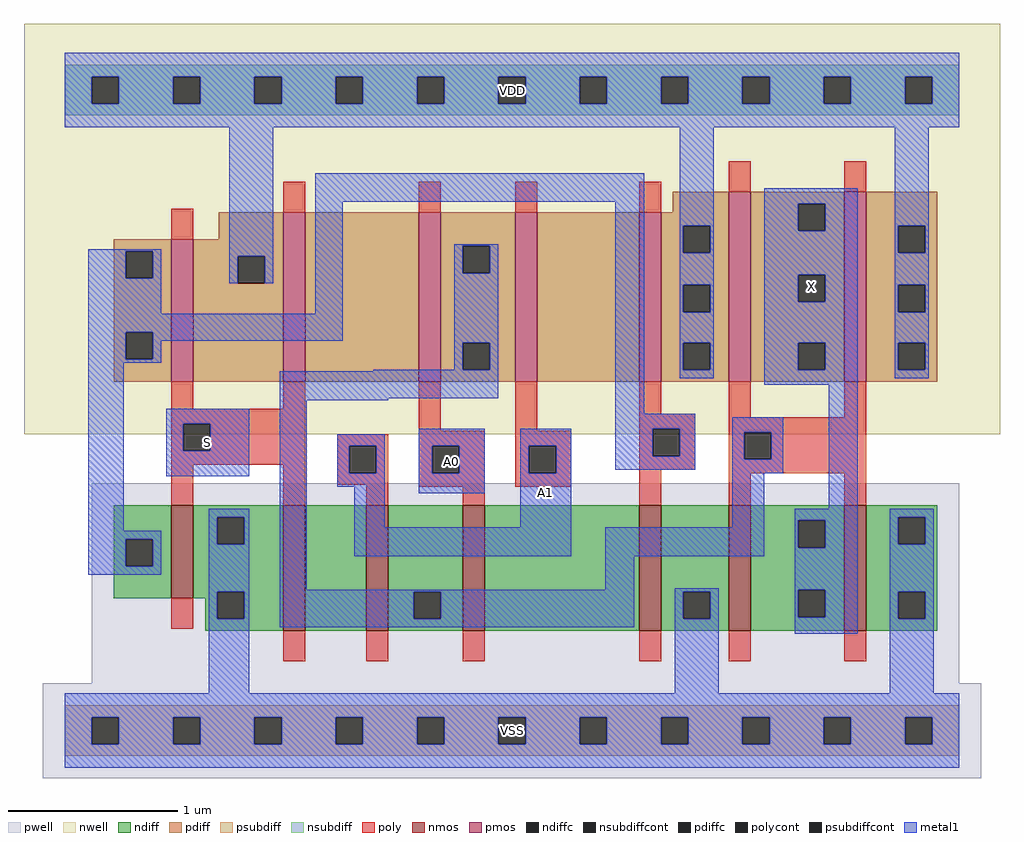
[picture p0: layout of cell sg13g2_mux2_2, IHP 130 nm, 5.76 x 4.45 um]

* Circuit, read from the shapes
.subckt sg13g2_mux2_2 A1 X S VDD VSS A0
XM1 VSS S n1 VSS sg13_lv_nmos w=0.55u l=0.13u
XM2 n2 S VSS VSS sg13_lv_nmos w=0.74u l=0.13u
XM3 n3 A1 n2 VSS sg13_lv_nmos w=0.74u l=0.13u
XM4 n4 A0 n3 VSS sg13_lv_nmos w=0.74u l=0.13u
XM5 VSS n1 n4 VSS sg13_lv_nmos w=0.74u l=0.13u
XM6 X n3 VSS VSS sg13_lv_nmos w=0.74u l=0.13u m=2
XM7 VDD S n1 VDD sg13_lv_pmos w=0.84u l=0.13u
XM8 n5 S VDD VDD sg13_lv_pmos w=1u l=0.13u
XM9 n3 A0 n5 VDD sg13_lv_pmos w=1u l=0.13u
XM10 n6 A1 n3 VDD sg13_lv_pmos w=1u l=0.13u
XM11 VDD n1 n6 VDD sg13_lv_pmos w=1u l=0.13u
XM12 X n3 VDD VDD sg13_lv_pmos w=1.12u l=0.13u m=2
.ends

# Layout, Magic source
magic
tech ihp-sg13g2
<< nwell >>
rect -24 175 552 417
<< pwell >>
rect 16 28 528 146
rect -13 -28 541 28
<< nmos >>
rect 63 78 76 133
rect 129 59 142 133
rect 178 59 191 133
rect 235 59 248 133
rect 339 59 352 133
rect 392 59 405 133
rect 460 59 473 133
<< pmos >>
rect 63 206 76 290
rect 129 206 142 306
rect 209 206 222 306
rect 266 206 279 306
rect 339 206 352 306
rect 392 206 405 318
rect 460 206 473 318
<< ndiff >>
rect 29 113 63 133
rect 29 97 36 113
rect 52 97 63 113
rect 29 78 63 97
rect 76 126 129 133
rect 76 110 90 126
rect 106 110 129 126
rect 76 82 129 110
rect 76 78 90 82
rect 83 66 90 78
rect 106 66 129 82
rect 83 59 129 66
rect 142 59 178 133
rect 191 82 235 133
rect 191 66 206 82
rect 222 66 235 82
rect 191 59 235 66
rect 248 59 339 133
rect 352 82 392 133
rect 352 66 365 82
rect 381 66 392 82
rect 352 59 392 66
rect 405 124 460 133
rect 405 108 433 124
rect 449 108 460 124
rect 405 83 460 108
rect 405 67 433 83
rect 449 67 460 83
rect 405 59 460 67
rect 473 126 515 133
rect 473 110 492 126
rect 508 110 515 126
rect 473 82 515 110
rect 473 66 492 82
rect 508 66 515 82
rect 473 59 515 66
<< pdiff >>
rect 359 306 392 318
rect 91 290 129 306
rect 29 283 63 290
rect 29 267 36 283
rect 52 267 63 283
rect 29 235 63 267
rect 29 219 36 235
rect 52 219 63 235
rect 29 206 63 219
rect 76 280 129 290
rect 76 264 102 280
rect 118 264 129 280
rect 76 206 129 264
rect 142 206 209 306
rect 222 286 266 306
rect 222 270 235 286
rect 251 270 266 286
rect 222 229 266 270
rect 222 213 235 229
rect 251 213 266 229
rect 222 206 266 213
rect 279 206 339 306
rect 352 298 392 306
rect 352 282 365 298
rect 381 282 392 298
rect 352 263 392 282
rect 352 247 365 263
rect 381 247 392 263
rect 352 229 392 247
rect 352 213 365 229
rect 381 213 392 229
rect 352 206 392 213
rect 405 311 460 318
rect 405 295 433 311
rect 449 295 460 311
rect 405 269 460 295
rect 405 253 433 269
rect 449 253 460 269
rect 405 229 460 253
rect 405 213 433 229
rect 449 213 460 229
rect 405 206 460 213
rect 473 298 515 318
rect 473 282 492 298
rect 508 282 515 298
rect 473 263 515 282
rect 473 247 492 263
rect 508 247 515 263
rect 473 229 515 247
rect 473 213 492 229
rect 508 213 515 229
rect 473 206 515 213
<< ndiffc >>
rect 36 97 52 113
rect 90 110 106 126
rect 90 66 106 82
rect 206 66 222 82
rect 365 66 381 82
rect 433 108 449 124
rect 433 67 449 83
rect 492 110 508 126
rect 492 66 508 82
<< pdiffc >>
rect 36 267 52 283
rect 36 219 52 235
rect 102 264 118 280
rect 235 270 251 286
rect 235 213 251 229
rect 365 282 381 298
rect 365 247 381 263
rect 365 213 381 229
rect 433 295 449 311
rect 433 253 449 269
rect 433 213 449 229
rect 492 282 508 298
rect 492 247 508 263
rect 492 213 508 229
<< psubdiff >>
rect 0 8 528 15
rect 0 -8 16 8
rect 32 -8 64 8
rect 80 -8 112 8
rect 128 -8 160 8
rect 176 -8 208 8
rect 224 -8 256 8
rect 272 -8 304 8
rect 320 -8 352 8
rect 368 -8 400 8
rect 416 -8 448 8
rect 464 -8 496 8
rect 512 -8 528 8
rect 0 -15 528 -8
<< nsubdiff >>
rect 0 386 528 393
rect 0 370 16 386
rect 32 370 64 386
rect 80 370 112 386
rect 128 370 160 386
rect 176 370 208 386
rect 224 370 256 386
rect 272 370 304 386
rect 320 370 352 386
rect 368 370 400 386
rect 416 370 448 386
rect 464 370 496 386
rect 512 370 528 386
rect 0 363 528 370
<< psubdiffcont >>
rect 16 -8 32 8
rect 64 -8 80 8
rect 112 -8 128 8
rect 160 -8 176 8
rect 208 -8 224 8
rect 256 -8 272 8
rect 304 -8 320 8
rect 352 -8 368 8
rect 400 -8 416 8
rect 448 -8 464 8
rect 496 -8 512 8
<< nsubdiffcont >>
rect 16 370 32 386
rect 64 370 80 386
rect 112 370 128 386
rect 160 370 176 386
rect 208 370 224 386
rect 256 370 272 386
rect 304 370 320 386
rect 352 370 368 386
rect 400 370 416 386
rect 448 370 464 386
rect 496 370 512 386
<< poly >>
rect 63 290 76 308
rect 129 306 142 324
rect 209 306 222 324
rect 266 306 279 324
rect 339 306 352 324
rect 392 318 405 336
rect 460 318 473 336
rect 63 190 76 206
rect 129 190 142 206
rect 63 181 142 190
rect 63 165 70 181
rect 86 165 142 181
rect 209 177 222 206
rect 266 177 279 206
rect 339 187 352 206
rect 339 178 372 187
rect 63 157 142 165
rect 63 133 76 157
rect 129 133 142 157
rect 161 168 191 175
rect 161 152 168 168
rect 184 152 191 168
rect 161 145 191 152
rect 178 133 191 145
rect 209 168 248 177
rect 209 152 217 168
rect 233 152 248 168
rect 209 144 248 152
rect 266 168 299 177
rect 266 152 274 168
rect 290 152 299 168
rect 266 144 299 152
rect 339 162 347 178
rect 363 162 372 178
rect 339 154 372 162
rect 392 185 405 206
rect 460 185 473 206
rect 392 176 473 185
rect 392 160 401 176
rect 417 160 473 176
rect 235 133 248 144
rect 339 133 352 154
rect 392 152 473 160
rect 392 133 405 152
rect 460 133 473 152
rect 63 60 76 78
rect 129 41 142 59
rect 178 41 191 59
rect 235 41 248 59
rect 339 41 352 59
rect 392 41 405 59
rect 460 41 473 59
<< polycont >>
rect 70 165 86 181
rect 168 152 184 168
rect 217 152 233 168
rect 274 152 290 168
rect 347 162 363 178
rect 401 160 417 176
<< metal1 >>
rect 0 386 528 400
rect 0 370 16 386
rect 32 370 64 386
rect 80 370 112 386
rect 128 370 160 386
rect 176 370 208 386
rect 224 370 256 386
rect 272 370 304 386
rect 320 370 352 386
rect 368 370 400 386
rect 416 370 448 386
rect 464 370 496 386
rect 512 370 528 386
rect 0 356 528 370
rect 14 283 57 284
rect 14 267 36 283
rect 52 267 57 283
rect 14 246 57 267
rect 97 280 123 356
rect 97 264 102 280
rect 118 264 123 280
rect 148 312 342 329
rect 148 246 164 312
rect 14 235 164 246
rect 14 219 36 235
rect 52 230 164 235
rect 230 286 256 287
rect 230 270 235 286
rect 251 270 256 286
rect 52 219 57 230
rect 14 217 57 219
rect 230 229 256 270
rect 14 118 35 217
rect 230 213 235 229
rect 251 213 256 229
rect 182 212 256 213
rect 127 196 256 212
rect 127 195 191 196
rect 60 181 109 190
rect 60 165 70 181
rect 86 165 109 181
rect 60 150 109 165
rect 85 126 109 131
rect 14 113 57 118
rect 14 97 36 113
rect 52 97 57 113
rect 14 92 57 97
rect 85 110 90 126
rect 106 110 109 126
rect 85 82 109 110
rect 85 66 90 82
rect 106 66 109 82
rect 85 22 109 66
rect 127 83 143 195
rect 325 187 342 312
rect 363 298 383 356
rect 363 282 365 298
rect 381 282 383 298
rect 363 263 383 282
rect 363 247 365 263
rect 381 247 383 263
rect 363 229 383 247
rect 363 213 365 229
rect 381 213 383 229
rect 363 208 383 213
rect 413 311 468 320
rect 413 295 433 311
rect 449 295 468 311
rect 413 269 468 295
rect 413 253 433 269
rect 449 253 468 269
rect 413 229 468 253
rect 413 213 433 229
rect 449 213 468 229
rect 413 204 468 213
rect 490 298 510 356
rect 490 282 492 298
rect 508 282 510 298
rect 490 263 510 282
rect 490 247 492 263
rect 508 247 510 263
rect 490 229 510 247
rect 490 213 492 229
rect 508 213 510 229
rect 490 208 510 213
rect 325 178 372 187
rect 161 168 189 175
rect 161 152 168 168
rect 184 152 189 168
rect 161 144 189 152
rect 171 120 189 144
rect 209 168 248 178
rect 209 152 217 168
rect 233 152 248 168
rect 209 140 248 152
rect 269 168 299 178
rect 269 152 274 168
rect 290 152 299 168
rect 325 162 347 178
rect 363 162 372 178
rect 325 154 372 162
rect 394 176 424 185
rect 394 160 401 176
rect 417 160 424 176
rect 269 120 299 152
rect 394 152 424 160
rect 394 120 413 152
rect 451 131 468 204
rect 171 103 299 120
rect 319 103 413 120
rect 431 124 468 131
rect 431 108 433 124
rect 449 108 468 124
rect 319 83 336 103
rect 127 82 336 83
rect 127 66 206 82
rect 222 66 336 82
rect 127 61 336 66
rect 360 82 386 84
rect 360 66 365 82
rect 381 66 386 82
rect 360 22 386 66
rect 431 83 468 108
rect 431 67 433 83
rect 449 67 468 83
rect 431 57 468 67
rect 487 126 513 131
rect 487 110 492 126
rect 508 110 513 126
rect 487 82 513 110
rect 487 66 492 82
rect 508 66 513 82
rect 487 22 513 66
rect 0 8 528 22
rect 0 -8 16 8
rect 32 -8 64 8
rect 80 -8 112 8
rect 128 -8 160 8
rect 176 -8 208 8
rect 224 -8 256 8
rect 272 -8 304 8
rect 320 -8 352 8
rect 368 -8 400 8
rect 416 -8 448 8
rect 464 -8 496 8
rect 512 -8 528 8
rect 0 -22 528 -8
<< labels >>
flabel metal1 s 269 103 299 178 0 FreeSans 200 0 0 0 A1
port 2 nsew
flabel metal1 s 413 204 468 320 0 FreeSans 200 0 0 0 X
port 3 nsew
flabel metal1 s 60 150 109 190 0 FreeSans 200 0 0 0 S
port 4 nsew
flabel metal1 s 0 356 528 400 0 FreeSans 200 0 0 0 VDD
port 5 nsew
flabel metal1 s 0 -22 528 22 0 FreeSans 200 0 0 0 VSS
port 6 nsew
flabel metal1 s 209 140 248 178 0 FreeSans 200 0 0 0 A0
port 7 nsew
<< properties >>
string FIXED_BBOX 0 0 528 378
string GDS_END 199358
string GDS_FILE ../gds/controller.gds
string GDS_START 191706
<< end >>
